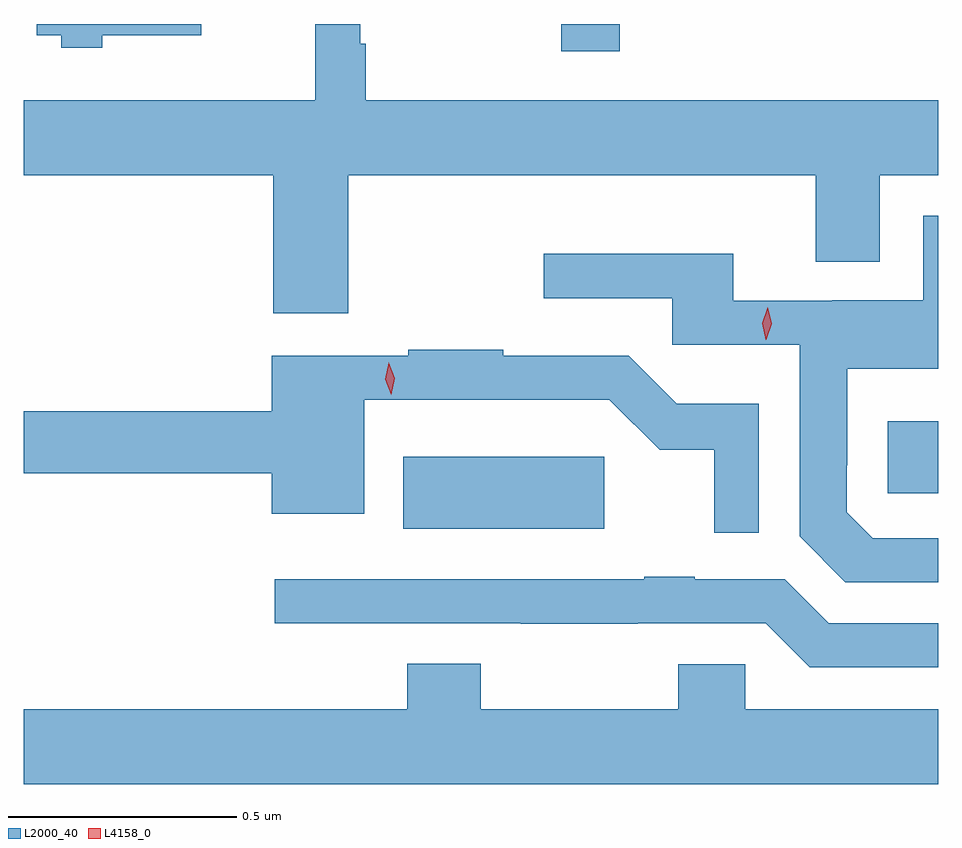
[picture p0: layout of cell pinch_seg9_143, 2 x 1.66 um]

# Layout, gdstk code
import gdstk
lib = gdstk.Library(unit=1e-6, precision=1e-09)
def R(c, l, rs):  # rectangles x0, y0, x1, y1
    for r in rs: c.add(gdstk.rectangle(r[:2], r[2:], *l))
def P(c, l, *ps):  # polygons
    for p in ps: c.add(gdstk.Polygon(p, *l))
L2000_40 = (2000, 40)
L4158_0 = (4158, 0)

pinch_seg9_143 = lib.new_cell('pinch_seg9_143')
R(pinch_seg9_143, L2000_40, [(648.278,1232.942,648.718,1233.1), (649.338,1233.02,649.448,1233.178), (648.624,1233.987,648.752,1234.047)])
P(pinch_seg9_143, L2000_40, [(648.158,1233.716),(649.181,1233.716),(649.181,1233.527),(649.321,1233.527),(649.321,1233.716),(649.448,1233.716),(649.448,1233.88),(648.196,1233.88),(648.196,1234.004),(648.184,1234.004),(648.184,1234.047),(648.085,1234.047),(648.085,1233.88),(647.448,1233.88),(647.448,1233.716),(647.993,1233.716),(647.993,1233.414),(648.158,1233.414)],
  [(647.619,1234.022),(647.836,1234.022),(647.836,1234.047),(647.476,1234.047),(647.476,1234.022),(647.529,1234.022),(647.529,1233.995),(647.619,1233.995)],
  [(649.448,1232.922),(649.305,1232.922),(649.248,1232.979),(649.248,1233.082),(649.249,1233.082),(649.249,1233.293),(649.448,1233.293),(649.448,1233.627),(649.416,1233.627),(649.416,1233.442),(649.217,1233.442),(649.217,1233.441),(649,1233.441),(649,1233.544),(648.585,1233.544),(648.585,1233.447),(648.867,1233.447),(648.867,1233.345),(649.145,1233.345),(649.145,1232.926),(649.245,1232.826),(649.448,1232.826)],
  [(649.056,1233.216),(648.876,1233.216),(648.771,1233.321),(648.497,1233.321),(648.497,1233.334),(648.289,1233.334),(648.289,1233.321),(647.99,1233.321),(647.99,1233.2),(647.448,1233.2),(647.448,1233.064),(647.99,1233.064),(647.99,1232.975),(648.193,1232.975),(648.193,1233.225),(648.729,1233.225),(648.839,1233.115),(648.958,1233.115),(648.958,1232.934),(649.056,1232.934)],
  [(649.448,1232.736),(649.209,1232.736),(649.113,1232.832),(648.916,1232.832),(648.916,1232.837),(648.805,1232.837),(648.805,1232.832),(647.997,1232.832),(647.997,1232.736),(648.535,1232.736),(648.535,1232.735),(648.791,1232.735),(648.791,1232.736),(649.071,1232.736),(649.167,1232.64),(649.448,1232.64)],
  [(649.448,1232.548),(649.026,1232.548),(649.026,1232.646),(648.88,1232.646),(648.88,1232.548),(648.447,1232.548),(648.447,1232.647),(648.287,1232.647),(648.287,1232.548),(647.448,1232.548),(647.448,1232.384),(649.448,1232.384)])
P(pinch_seg9_143, L4158_0, [(649.071,1233.356),(649.071,1233.356),(649.063,1233.392),(649.075,1233.427),(649.076,1233.427),(649.076,1233.427),(649.084,1233.391),(649.072,1233.356)],
  [(648.252,1233.236),(648.252,1233.236),(648.239,1233.27),(648.246,1233.306),(648.246,1233.307),(648.246,1233.306),(648.259,1233.272),(648.252,1233.236)])

lib.write_gds('pinch_seg9_143.gds')
